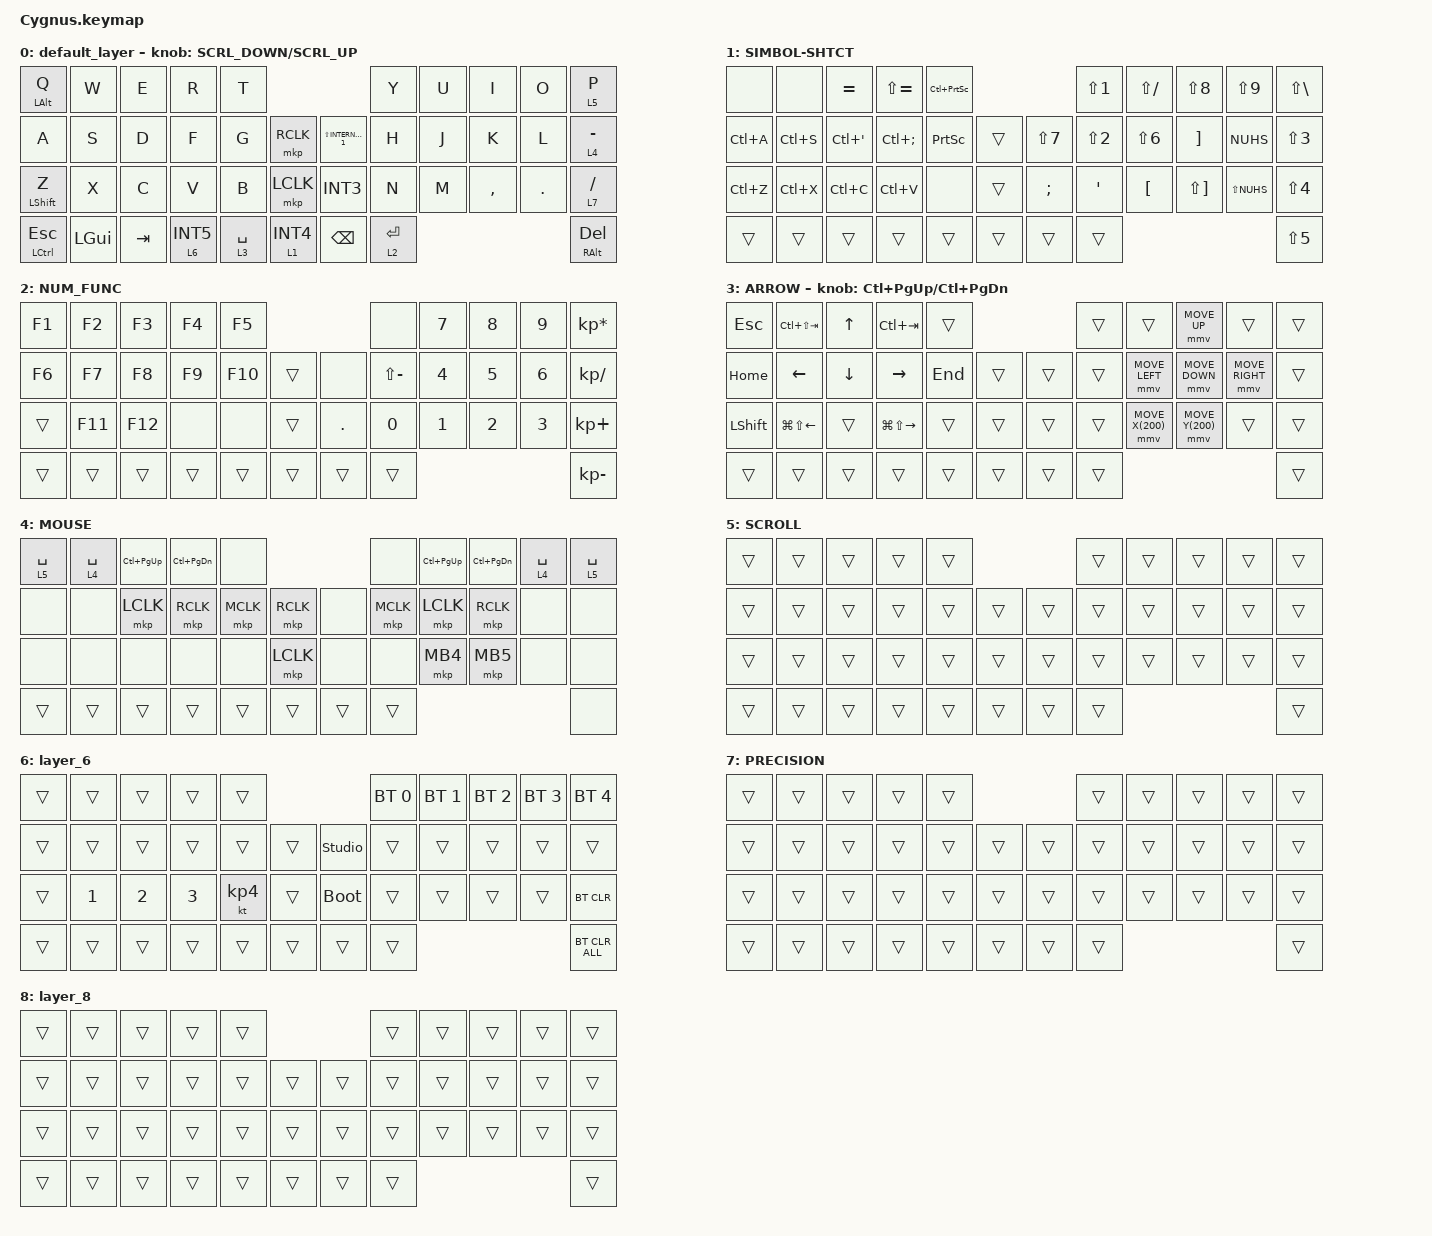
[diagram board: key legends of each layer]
#define ZMK_POINTING_DEFAULT_SCRL_VAL 120    // default: 10

#include <behaviors.dtsi>
#include <dt-bindings/zmk/bt.h>
#include <dt-bindings/zmk/keys.h>
#include <dt-bindings/zmk/pointing.h>

#define NUM_FUNC 2
#define MOUSE 4
#define SCROLL 5
#define PRECISION 7

&mt {
    flavor = "balanced";
    tapping-term-ms = <200>;
    quick-tap-ms = <0>;
};

/ {
    combos {
        compatible = "zmk,combos";

        double_quotation {
            bindings = <&kp DOUBLE_QUOTES>;
            key-positions = <20 21>;
        };

        // 同時押しで精密モード(PRECISION, layer7)。
        // レイヤーに関係なくどこからでも効くようコンボにしている(MOUSEレイヤー内の単独キーだと、
        // まだAML未発動のうちに押すと下敷きのレイヤーのキーとして解釈され、レイヤーが有効にならなかったため)。

        precision_mode {
            bindings = <&mo 7>;
            key-positions = <33 21>;
            timeout-ms = <40>;
        };
    };

    macros {
        to_layer_0: to_layer_0 {
            compatible = "zmk,behavior-macro-one-param";
            #binding-cells = <1>;
            bindings = <&to 0 &macro_param_1to1 &kp MACRO_PLACEHOLDER>;
            label = "TO_LAYER_0";
        };

        exit_AML: exit_AML {
            compatible = "zmk,behavior-macro";
            wait-ms = <0>;
            tap-ms = <0>;
            #binding-cells = <0>;
            bindings = <&tog_off MOUSE>;
            label = "exit_AML";
        };

        kp_exit_AML: kp_exit_AML {
            compatible = "zmk,behavior-macro-one-param";
            wait-ms = <0>;
            tap-ms = <0>;
            #binding-cells = <1>;
            bindings = <&macro_param_1to1 &kp MACRO_PLACEHOLDER &exit_AML>;
            label = "KP_exit_AML";
        };
    };

    behaviors {
        lt_to_layer_0: lt_to_layer_0 {
            compatible = "zmk,behavior-hold-tap";
            label = "LAYER_TAP_TO_0";
            bindings = <&mo>, <&to_layer_0>;

            #binding-cells = <2>;
            tapping-term-ms = <200>;
        };

        rotate: rotate {
            compatible = "zmk,behavior-sensor-rotate-var";
            label = "rotate";
            #sensor-binding-cells = <2>;
            bindings = <&msc>, <&msc>;

            tap-ms = <20>;
        };

        tog_off: toggle_layer_off {
            compatible = "zmk,behavior-toggle-layer";
            #binding-cells = <1>;
            display-name = "Toggle Layer Off";
            toggle-mode = "off";
        };

        mt_exit_AML_on_tap: mt_exit_AML_on_tap {
            compatible = "zmk,behavior-hold-tap";
            label = "MT_exit_AML_ON_TAP";
            bindings = <&kp>, <&kp_exit_AML>;

            #binding-cells = <2>;
            tapping-term-ms = <200>;
            flavor = "balanced";
            quick-tap-ms = <200>;
        };
    };

    keymap {
        compatible = "zmk,keymap";

        default_layer {
            bindings = <
&mt LEFT_ALT Q    &kp W         &kp E    &kp R       &kp T                                                 &kp Y        &kp U  &kp I      &kp O    &lt 5 P
&kp A             &kp S         &kp D    &kp F       &kp G        &mkp RCLK    &kp LS(INTERNATIONAL_1)     &kp H        &kp J  &kp K      &kp L    &lt 4 MINUS
&mt LEFT_SHIFT Z  &kp X         &kp C    &kp V       &kp B        &mkp LCLK       &kp INT3                 &kp N        &kp M  &kp COMMA  &kp DOT  &lt 7 SLASH
&mt LCTRL ESCAPE  &kp LEFT_GUI  &kp TAB  &lt 6 INT5  &lt 3 SPACE  &lt 1 INT4      &kp BACKSPACE            &lt 2 ENTER                             &mt RALT DEL
            >;

            sensor-bindings = <&rotate SCRL_DOWN SCRL_UP>;
        };

        SIMBOL-SHTCT {
            bindings = <
&none      &none      &kp EQUAL             &kp LS(EQUAL)  &kp LC(PRINTSCREEN)                          &kp LS(N1)  &kp LS(FSLH)  &kp LS(N8)    &kp LS(N9)    &kp LS(BACKSLASH)
&kp LC(A)  &kp LC(S)  &kp LC(SINGLE_QUOTE)  &kp LC(SEMI)   &kp PRINTSCREEN      &trans      &kp LS(N7)  &kp LS(N2)  &kp LS(N6)    &kp RBKT      &kp NUHS      &kp LS(N3)
&kp LC(Z)  &kp LC(X)  &kp LC(C)             &kp LC(V)      &none                &trans      &kp SEMI    &kp SQT     &kp LBKT      &kp LS(RBKT)  &kp LS(NUHS)  &kp LS(N4)
&trans     &trans     &trans                &trans         &trans               &trans      &trans      &trans                                                &kp LS(N5)
            >;
        };

        NUM_FUNC {
            bindings = <
&kp F1  &kp F2   &kp F3   &kp F4  &kp F5                        &none          &kp NUMBER_7  &kp NUMBER_8  &kp NUMBER_9  &kp KP_MULTIPLY
&kp F6  &kp F7   &kp F8   &kp F9  &kp F10  &trans      &none    &kp LS(MINUS)  &kp NUMBER_4  &kp NUMBER_5  &kp NUMBER_6  &kp KP_DIVIDE
&trans  &kp F11  &kp F12  &none   &none    &trans      &kp DOT  &kp NUMBER_0   &kp NUMBER_1  &kp NUMBER_2  &kp NUMBER_3  &kp KP_PLUS
&trans  &trans   &trans   &trans  &trans   &trans      &trans   &trans                                                   &kp KP_MINUS
            >;
        };

        ARROW {
            bindings = <
&kp ESCAPE      &kp LC(LS(TAB))         &kp UP_ARROW    &kp LC(TAB)              &trans                       &trans  &trans            &mmv MOVE_UP      &trans           &trans
&kp HOME        &kp LEFT_ARROW          &kp DOWN_ARROW  &kp RIGHT_ARROW          &kp END  &trans      &trans  &trans  &mmv MOVE_LEFT    &mmv MOVE_DOWN    &mmv MOVE_RIGHT  &trans
&kp LEFT_SHIFT  &kp LG(LS(LEFT_ARROW))  &trans          &kp LG(LS(RIGHT_ARROW))  &trans   &trans      &trans  &trans  &mmv MOVE_X(200)  &mmv MOVE_Y(200)  &trans           &trans
&trans          &trans                  &trans          &trans                   &trans   &trans      &trans  &trans                                                       &trans
            >;

            sensor-bindings = <&inc_dec_kp LC(PAGE_UP) LC(PAGE_DOWN)>;
        };

        MOUSE {
            bindings = <
&lt 5 SPACE  &lt 4 SPACE  &kp LC(PAGE_UP)  &kp LC(PAGE_DOWN)  &none                             &none      &kp LC(PAGE_UP)  &kp LC(PAGE_DOWN)  &lt 4 SPACE  &lt 5 SPACE
&none        &none        &mkp LCLK        &mkp RCLK          &mkp MCLK  &mkp RCLK      &none   &mkp MCLK  &mkp LCLK        &mkp RCLK          &none        &none
&none        &none        &none            &none              &none      &mkp LCLK      &none   &none      &mkp MB4         &mkp MB5           &none        &none
&trans       &trans       &trans           &trans             &trans     &trans         &trans  &trans                                                      &none
            >;
        };

        SCROLL {
            bindings = <
&trans  &trans  &trans  &trans  &trans                      &trans  &trans  &trans  &trans  &trans
&trans  &trans  &trans  &trans  &trans  &trans      &trans  &trans  &trans  &trans  &trans  &trans
&trans  &trans  &trans  &trans  &trans  &trans      &trans  &trans  &trans  &trans  &trans  &trans
&trans  &trans  &trans  &trans  &trans  &trans      &trans  &trans                          &trans
            >;
        };

        layer_6 {
            bindings = <
&trans  &trans        &trans        &trans        &trans                                 &bt BT_SEL 0  &bt BT_SEL 1  &bt BT_SEL 2  &bt BT_SEL 3  &bt BT_SEL 4
&trans  &trans        &trans        &trans        &trans     &trans      &studio_unlock  &trans        &trans        &trans        &trans        &trans
&trans  &kp NUMBER_1  &kp NUMBER_2  &kp NUMBER_3  &kt KP_N4  &trans      &bootloader     &trans        &trans        &trans        &trans        &bt BT_CLR
&trans  &trans        &trans        &trans        &trans     &trans      &trans          &trans                                                  &bt BT_CLR_ALL
            >;
        };

        // 精密モード: 全キーtransparent。MOUSEレイヤー内の&mo 7を押している間だけ有効になり、
        // snipe-layers = <7>(Cygnus_R.overlay)でトラックボールのCPIを1/4に落とす。

        PRECISION {
            bindings = <
&trans  &trans  &trans  &trans  &trans                      &trans  &trans  &trans  &trans  &trans
&trans  &trans  &trans  &trans  &trans  &trans      &trans  &trans  &trans  &trans  &trans  &trans
&trans  &trans  &trans  &trans  &trans  &trans      &trans  &trans  &trans  &trans  &trans  &trans
&trans  &trans  &trans  &trans  &trans  &trans      &trans  &trans                          &trans
            >;
        };

        layer_8 {
            bindings = <
&trans  &trans  &trans  &trans  &trans                      &trans  &trans  &trans  &trans  &trans
&trans  &trans  &trans  &trans  &trans  &trans      &trans  &trans  &trans  &trans  &trans  &trans
&trans  &trans  &trans  &trans  &trans  &trans      &trans  &trans  &trans  &trans  &trans  &trans
&trans  &trans  &trans  &trans  &trans  &trans      &trans  &trans                          &trans
            >;
        };
    };
};
